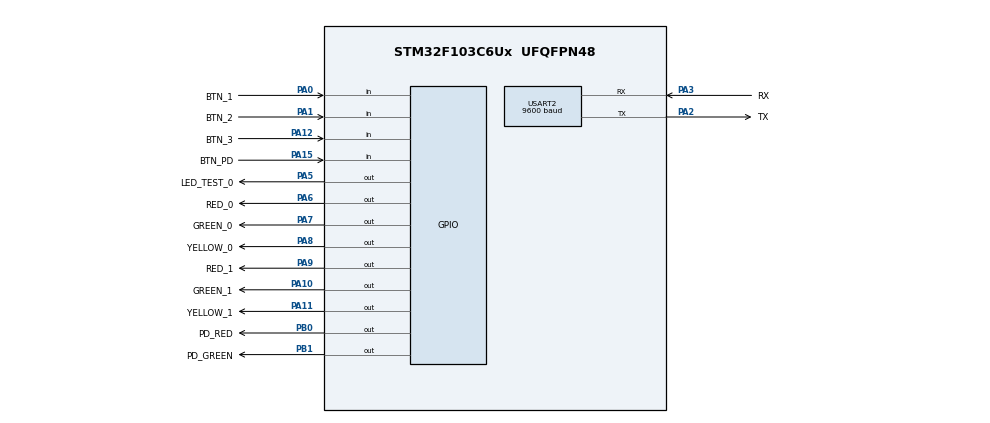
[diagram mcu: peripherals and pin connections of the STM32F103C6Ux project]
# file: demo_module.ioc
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Mcu.Family=STM32F1
Mcu.Name=STM32F103C6Ux
Mcu.Package=UFQFPN48
NVIC.PriorityGroup=NVIC_PRIORITYGROUP_4
NVIC.TIM2_IRQn=true\:0\:0\:false\:false\:true\:true\:true
NVIC.USART2_IRQn=true\:0\:0\:false\:false\:true\:true\:true
PA0-WKUP.GPIO_Label=BTN_1
PA0-WKUP.GPIO_PuPd=GPIO_PULLUP
PA0-WKUP.Signal=GPIO_Input
PA1.GPIO_Label=BTN_2
PA1.GPIO_PuPd=GPIO_PULLUP
PA1.Signal=GPIO_Input
PA10.GPIO_Label=GREEN_1
PA10.Signal=GPIO_Output
PA11.GPIO_Label=YELLOW_1
PA11.Signal=GPIO_Output
PA12.GPIO_Label=BTN_3
PA12.GPIO_PuPd=GPIO_PULLUP
PA12.Signal=GPIO_Input
PA13.Mode=Serial_Wire
PA13.Signal=SYS_JTMS-SWDIO
PA14.Mode=Serial_Wire
PA14.Signal=SYS_JTCK-SWCLK
PA15.GPIO_Label=BTN_PD
PA15.GPIO_PuPd=GPIO_PULLUP
PA15.Signal=GPIO_Input
PA2.GPIO_Label=TX
PA2.Mode=Asynchronous
PA2.Signal=USART2_TX
PA3.GPIO_Label=RX
PA3.Mode=Asynchronous
PA3.Signal=USART2_RX
PA5.GPIO_Label=LED_TEST_0
PA5.Signal=GPIO_Output
PA6.GPIO_Label=RED_0
PA6.Signal=GPIO_Output
PA7.GPIO_Label=GREEN_0
PA7.Signal=GPIO_Output
PA8.GPIO_Label=YELLOW_0
PA8.Signal=GPIO_Output
PA9.GPIO_Label=RED_1
PA9.Signal=GPIO_Output
PB0.GPIO_Label=PD_RED
PB0.Signal=GPIO_Output
PB1.GPIO_Label=PD_GREEN
PB1.Signal=GPIO_Output
ProjectManager.HeapSize=0x200
ProjectManager.StackSize=0x400
ProjectManager.TargetToolchain=STM32CubeIDE
RCC.APB1Freq_Value=8000000
RCC.APB2Freq_Value=8000000
TIM2.Period=7999
TIM2.Prescaler=9
USART2.BaudRate=9600
USART2.VirtualMode=VM_ASYNC
VP_TIM2_VS_ClockSourceINT.Mode=Internal
board=custom

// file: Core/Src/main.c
/* USER CODE BEGIN Header */
/**
  ******************************************************************************
  * @file           : main.c
  * @brief          : Main program body
  ******************************************************************************
  * @attention
  *
  * <h2><center>&copy; Copyright (c) 2022 STMicroelectronics.
  * All rights reserved.</center></h2>
  *
  * This software component is licensed by ST under BSD 3-Clause license,
  * the "License"; You may not use this file except in compliance with the
  * License. You may obtain a copy of the License at:
  *                        opensource.org/licenses/BSD-3-Clause
  *
  ******************************************************************************
  */

/* USER CODE END Header */
#include "main.h"

/* USER CODE BEGIN Includes */
#include <stdio.h>
#include "global.h"
#include "test_IO.h"
#include "traffic_fsm.h"
#include "pedestrian_fsm.h"
/* USER CODE END Includes */

TIM_HandleTypeDef htim2;

//UART_HandleTypeDef huart2;

void SystemClock_Config(void);
static void MX_GPIO_Init(void);
static void MX_TIM2_Init(void);
static void MX_USART2_UART_Init(void);

/* USER CODE BEGIN 0 */
void HAL_UART_RxCpltCallback(UART_HandleTypeDef *huart) {
	if (huart->Instance == USART2) {
		uart_init();
	}
}
/* USER CODE END 0 */

int main(void)
{

  /* MCU Configuration--------------------------------------------------------*/

  /* Reset of all peripherals, Initializes the Flash interface and the Systick. */
  HAL_Init();

  /* Configure the system clock */
  SystemClock_Config();

  /* Initialize all configured peripherals */
  MX_GPIO_Init();
  MX_TIM2_Init();
  MX_USART2_UART_Init();
  /* USER CODE BEGIN 2 */
  HAL_TIM_Base_Start_IT(&htim2);
  timer_init();
  traffic_init();
  pedestrian_init();
  /* USER CODE END 2 */

  /* Infinite loop */
  /* USER CODE BEGIN WHILE */
  timer_setDuration(TIMER_TEST_0, 500);
  while (1)
  {
    /* USER CODE END WHILE */

    /* USER CODE BEGIN 3 */
	if (timer_checkFlag(TIMER_TEST_0)) {
		timer_setDuration(TIMER_TEST_0, 500);
		HAL_GPIO_TogglePin(GPIOA, LED_TEST_0_Pin);
	}
	traffic_fsm();
	pedestrian_fsm();
//	test_button();
  }
  /* USER CODE END 3 */
}

void SystemClock_Config(void)
{
  RCC_OscInitTypeDef RCC_OscInitStruct = {0};
  RCC_ClkInitTypeDef RCC_ClkInitStruct = {0};

  /** Initializes the RCC Oscillators according to the specified parameters
  * in the RCC_OscInitTypeDef structure.
  */
  RCC_OscInitStruct.OscillatorType = RCC_OSCILLATORTYPE_HSI;
  RCC_OscInitStruct.HSIState = RCC_HSI_ON;
  RCC_OscInitStruct.HSICalibrationValue = RCC_HSICALIBRATION_DEFAULT;
  RCC_OscInitStruct.PLL.PLLState = RCC_PLL_NONE;
  if (HAL_RCC_OscConfig(&RCC_OscInitStruct) != HAL_OK)
  {
    Error_Handler();
  }
  /** Initializes the CPU, AHB and APB buses clocks
  */
  RCC_ClkInitStruct.ClockType = RCC_CLOCKTYPE_HCLK|RCC_CLOCKTYPE_SYSCLK
                              |RCC_CLOCKTYPE_PCLK1|RCC_CLOCKTYPE_PCLK2;
  RCC_ClkInitStruct.SYSCLKSource = RCC_SYSCLKSOURCE_HSI;
  RCC_ClkInitStruct.AHBCLKDivider = RCC_SYSCLK_DIV1;
  RCC_ClkInitStruct.APB1CLKDivider = RCC_HCLK_DIV1;
  RCC_ClkInitStruct.APB2CLKDivider = RCC_HCLK_DIV1;

  if (HAL_RCC_ClockConfig(&RCC_ClkInitStruct, FLASH_LATENCY_0) != HAL_OK)
  {
    Error_Handler();
  }
}

static void MX_TIM2_Init(void)
{

  TIM_ClockConfigTypeDef sClockSourceConfig = {0};
  TIM_MasterConfigTypeDef sMasterConfig = {0};

  htim2.Instance = TIM2;
  htim2.Init.Prescaler = 9;
  htim2.Init.CounterMode = TIM_COUNTERMODE_UP;
  htim2.Init.Period = 7999;
  htim2.Init.ClockDivision = TIM_CLOCKDIVISION_DIV1;
  htim2.Init.AutoReloadPreload = TIM_AUTORELOAD_PRELOAD_DISABLE;
  if (HAL_TIM_Base_Init(&htim2) != HAL_OK)
  {
    Error_Handler();
  }
  sClockSourceConfig.ClockSource = TIM_CLOCKSOURCE_INTERNAL;
  if (HAL_TIM_ConfigClockSource(&htim2, &sClockSourceConfig) != HAL_OK)
  {
    Error_Handler();
  }
  sMasterConfig.MasterOutputTrigger = TIM_TRGO_RESET;
  sMasterConfig.MasterSlaveMode = TIM_MASTERSLAVEMODE_DISABLE;
  if (HAL_TIMEx_MasterConfigSynchronization(&htim2, &sMasterConfig) != HAL_OK)
  {
    Error_Handler();
  }

}

static void MX_USART2_UART_Init(void)
{

  huart2.Instance = USART2;
  huart2.Init.BaudRate = 9600;
  huart2.Init.WordLength = UART_WORDLENGTH_8B;
  huart2.Init.StopBits = UART_STOPBITS_1;
  huart2.Init.Parity = UART_PARITY_NONE;
  huart2.Init.Mode = UART_MODE_TX_RX;
  huart2.Init.HwFlowCtl = UART_HWCONTROL_NONE;
  huart2.Init.OverSampling = UART_OVERSAMPLING_16;
  if (HAL_UART_Init(&huart2) != HAL_OK)
  {
    Error_Handler();
  }

}

static void MX_GPIO_Init(void)
{
  GPIO_InitTypeDef GPIO_InitStruct = {0};

  /* GPIO Ports Clock Enable */
  __HAL_RCC_GPIOA_CLK_ENABLE();
  __HAL_RCC_GPIOB_CLK_ENABLE();

  /*Configure GPIO pin Output Level */
  HAL_GPIO_WritePin(GPIOA, LED_TEST_0_Pin|RED_0_Pin|GREEN_0_Pin|YELLOW_0_Pin
                          |RED_1_Pin|GREEN_1_Pin|YELLOW_1_Pin, GPIO_PIN_RESET);

  /*Configure GPIO pin Output Level */
  HAL_GPIO_WritePin(GPIOB, PD_RED_Pin|PD_GREEN_Pin, GPIO_PIN_RESET);

  /*Configure GPIO pins : BTN_1_Pin BTN_2_Pin BTN_3_Pin BTN_PD_Pin */
  GPIO_InitStruct.Pin = BTN_1_Pin|BTN_2_Pin|BTN_3_Pin|BTN_PD_Pin;
  GPIO_InitStruct.Mode = GPIO_MODE_INPUT;
  GPIO_InitStruct.Pull = GPIO_PULLUP;
  HAL_GPIO_Init(GPIOA, &GPIO_InitStruct);

  /*Configure GPIO pins : LED_TEST_0_Pin RED_0_Pin GREEN_0_Pin YELLOW_0_Pin
                           RED_1_Pin GREEN_1_Pin YELLOW_1_Pin */
  GPIO_InitStruct.Pin = LED_TEST_0_Pin|RED_0_Pin|GREEN_0_Pin|YELLOW_0_Pin
                          |RED_1_Pin|GREEN_1_Pin|YELLOW_1_Pin;
  GPIO_InitStruct.Mode = GPIO_MODE_OUTPUT_PP;
  GPIO_InitStruct.Pull = GPIO_NOPULL;
  GPIO_InitStruct.Speed = GPIO_SPEED_FREQ_LOW;
  HAL_GPIO_Init(GPIOA, &GPIO_InitStruct);

  /*Configure GPIO pins : PD_RED_Pin PD_GREEN_Pin */
  GPIO_InitStruct.Pin = PD_RED_Pin|PD_GREEN_Pin;
  GPIO_InitStruct.Mode = GPIO_MODE_OUTPUT_PP;
  GPIO_InitStruct.Pull = GPIO_NOPULL;
  GPIO_InitStruct.Speed = GPIO_SPEED_FREQ_LOW;
  HAL_GPIO_Init(GPIOB, &GPIO_InitStruct);

}

/* USER CODE BEGIN 4 */
void HAL_TIM_PeriodElapsedCallback(TIM_HandleTypeDef *htim){
	timer_run();
	button_reading();
	duration_run();
}
/* USER CODE END 4 */

void Error_Handler(void)
{
  __disable_irq();
  while (1)
  {
  }
}

/************************ (C) COPYRIGHT STMicroelectronics *****END OF FILE****/
